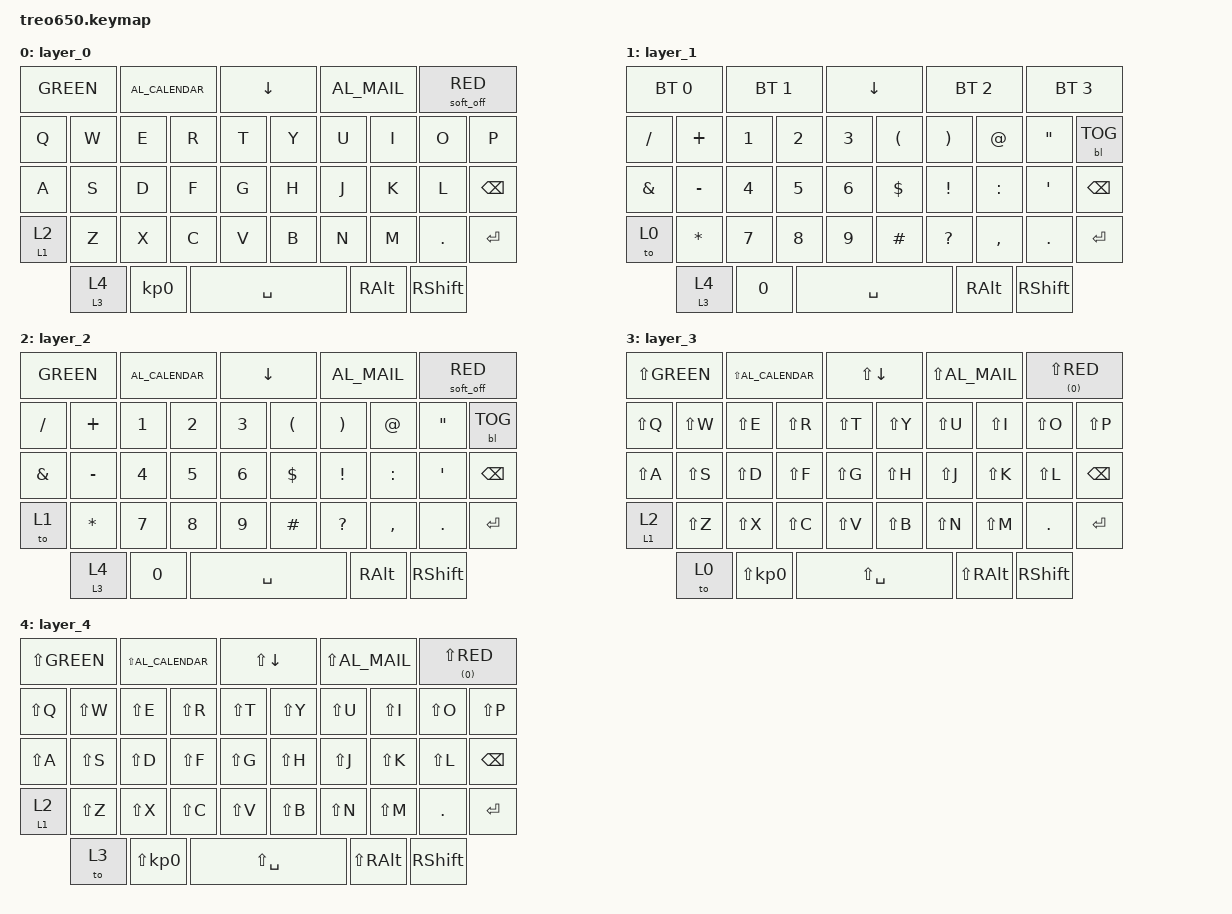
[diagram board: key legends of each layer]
#include <behaviors.dtsi>
#include <dt-bindings/zmk/backlight.h>
#include <dt-bindings/zmk/bt.h>
#include <dt-bindings/zmk/keys.h>

/ {
    behaviors {
        optht: optht {
            compatible = "zmk,behavior-hold-tap";
            label = "OPTHT";
            #binding-cells = <2>;
            bindings = <&mo>, <&sl>;

            tapping-term-ms = <200>;
        };

        redht: redht {
            compatible = "zmk,behavior-hold-tap";
            label = "REDHT";
            #binding-cells = <2>;
            bindings = <&soft_off>, <&kp>;

            tapping-term-ms = <200>;
        };
    };

    keymap {
        compatible = "zmk,keymap";

        layer_0 {
            bindings = <
             &kp HOME           &kp UP      &kp K_MENU
             &kp LEFT           &kp TAB     &kp RIGHT
&kp C_GREEN  &kp C_AL_CALENDAR  &kp DOWN    &kp C_AL_MAIL  &redht 0 C_RED
&kp Q        &kp W              &kp E       &kp R          &kp T            &kp Y        &kp U          &kp I            &kp O    &kp P
&kp A        &kp S              &kp D       &kp F          &kp G            &kp H        &kp J          &kp K            &kp L    &kp BACKSPACE
&optht 1 2   &kp Z              &kp X       &kp C          &kp V            &kp B        &kp N          &kp M            &kp DOT  &kp ENTER
                                &optht 3 4                 &kp KP_NUMBER_0  &kp SPACE    &kp RIGHT_ALT  &kp RIGHT_SHIFT
            >;
        };

        layer_1 {
            bindings = <
              &kp HOME      &kp UP      &bootloader
              &kp LEFT      &kp TAB     &kp RIGHT
&bt BT_SEL 0  &bt BT_SEL 1  &kp DOWN    &bt BT_SEL 2  &bt BT_SEL 3
&kp SLASH     &kp PLUS      &kp N1      &kp N2        &kp N3        &kp LPAR      &kp RPAR         &kp AT           &kp DQT  &bl BL_TOG
&kp AMPS      &kp MINUS     &kp N4      &kp N5        &kp N6        &kp DOLLAR    &kp EXCLAMATION  &kp COLON        &kp SQT  &kp BACKSPACE
&to 0         &kp ASTRK     &kp N7      &kp N8        &kp N9        &kp HASH      &kp QUESTION     &kp COMMA        &kp DOT  &kp ENTER
                            &optht 3 4                &kp N0        &kp SPACE     &kp RIGHT_ALT    &kp RIGHT_SHIFT
            >;
        };

        layer_2 {
            bindings = <
             &kp HOME           &kp UP      &bt BT_CLR
             &kp LEFT           &kp TAB     &kp RIGHT
&kp C_GREEN  &kp C_AL_CALENDAR  &kp DOWN    &kp C_AL_MAIL  &redht 0 C_RED
&kp SLASH    &kp PLUS           &kp N1      &kp N2         &kp N3          &kp LPAR      &kp RPAR         &kp AT           &kp DQT  &bl BL_TOG
&kp AMPS     &kp MINUS          &kp N4      &kp N5         &kp N6          &kp DOLLAR    &kp EXCLAMATION  &kp COLON        &kp SQT  &kp BACKSPACE
&to 1        &kp ASTRK          &kp N7      &kp N8         &kp N9          &kp HASH      &kp QUESTION     &kp COMMA        &kp DOT  &kp ENTER
                                &optht 3 4                 &kp N0          &kp SPACE     &kp RIGHT_ALT    &kp RIGHT_SHIFT
            >;
        };

        layer_3 {
            bindings = <
                 &kp LS(HOME)           &kp LS(UP)    &kp LS(K_MENU)
                 &kp LS(LEFT)           &kp LS(TAB)   &kp LS(RIGHT)
&kp LS(C_GREEN)  &kp LS(C_AL_CALENDAR)  &kp LS(DOWN)  &kp LS(C_AL_MAIL)  &redht (0) LS(C_RED)
&kp LS(Q)        &kp LS(W)              &kp LS(E)     &kp LS(R)          &kp LS(T)             &kp LS(Y)        &kp LS(U)          &kp LS(I)        &kp LS(O)  &kp LS(P)
&kp LS(A)        &kp LS(S)              &kp LS(D)     &kp LS(F)          &kp LS(G)             &kp LS(H)        &kp LS(J)          &kp LS(K)        &kp LS(L)  &kp BACKSPACE
&optht 1 2       &kp LS(Z)              &kp LS(X)     &kp LS(C)          &kp LS(V)             &kp LS(B)        &kp LS(N)          &kp LS(M)        &kp DOT    &kp ENTER
                                        &to 0                            &kp LS(KP_NUMBER_0)   &kp LS(SPACE)    &kp LS(RIGHT_ALT)  &kp RIGHT_SHIFT
            >;
        };

        layer_4 {
            bindings = <
                 &kp LS(HOME)           &kp LS(UP)    &kp LS(K_MENU)
                 &kp LS(LEFT)           &kp LS(TAB)   &kp LS(RIGHT)
&kp LS(C_GREEN)  &kp LS(C_AL_CALENDAR)  &kp LS(DOWN)  &kp LS(C_AL_MAIL)  &redht (0) LS(C_RED)
&kp LS(Q)        &kp LS(W)              &kp LS(E)     &kp LS(R)          &kp LS(T)             &kp LS(Y)        &kp LS(U)          &kp LS(I)        &kp LS(O)  &kp LS(P)
&kp LS(A)        &kp LS(S)              &kp LS(D)     &kp LS(F)          &kp LS(G)             &kp LS(H)        &kp LS(J)          &kp LS(K)        &kp LS(L)  &kp BACKSPACE
&optht 1 2       &kp LS(Z)              &kp LS(X)     &kp LS(C)          &kp LS(V)             &kp LS(B)        &kp LS(N)          &kp LS(M)        &kp DOT    &kp ENTER
                                        &to 3                            &kp LS(KP_NUMBER_0)   &kp LS(SPACE)    &kp LS(RIGHT_ALT)  &kp RIGHT_SHIFT
            >;
        };
    };
};
